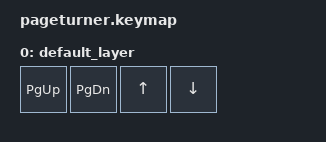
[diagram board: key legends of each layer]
#include <behaviors.dtsi>
#include <dt-bindings/zmk/keys.h>

/ {
    keymap {
        compatible = "zmk,keymap";
        default_layer {
            bindings = <&kp PG_UP  &kp PG_DN  &kp UP  &kp DOWN>;
        };
    };
};
